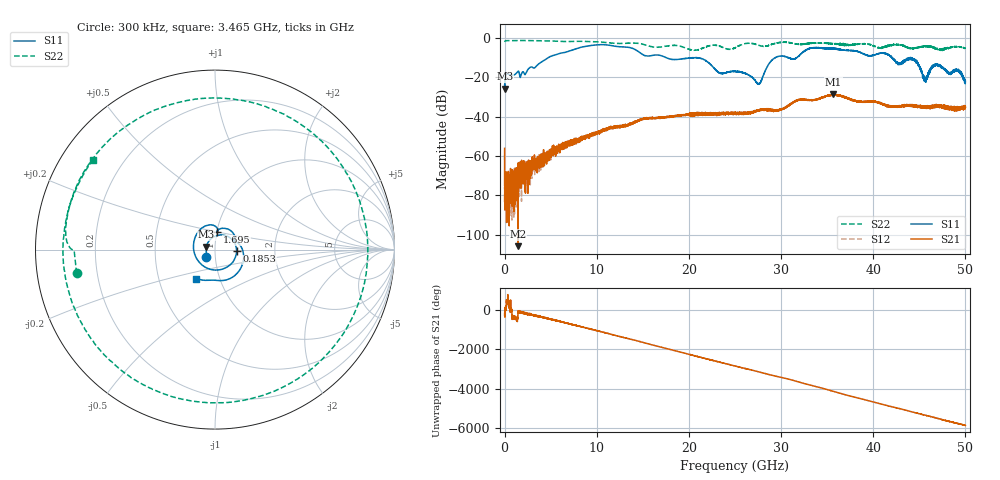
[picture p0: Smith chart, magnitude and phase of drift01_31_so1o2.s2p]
!Created with skrf (http://scikit-rf.org).
# Hz S RI R 50.0
!freq ReS11 ImS11 ReS21 ImS21 ReS12 ImS12 ReS22 ImS22
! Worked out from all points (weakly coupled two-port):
!   10001 points, 300 kHz to 50 GHz, reference 50 ohm
!   highest |S21| = -28.75 dB at 35.68 GHz (marker M1); lowest = -105.7 dB at 1.44 GHz (marker M2)
!   lowest |S11| = -25.8 dB at 5.3 MHz (marker M3), VSWR 1.11, Z = 45.3 + j1.42 ohm
!   |S11| at or under -10 dB: start of sweep to 4.766 GHz; 17.51 GHz to 29.4 GHz (11.89 GHz wide, 50.7 % of centre); 44.02 GHz to end of sweep (the widest 3 of 9)
!   |S22| runs from -6.5 to -1.4 dB; largest |S21 - S12| = 0.0041
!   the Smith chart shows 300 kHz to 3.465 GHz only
!   S11 on the Smith chart (normalised r, x): 300 kHz: 0.91, -0.07; 185.3 MHz: 1.27, -0.02; 1.695 GHz: 1.00, +0.20; 3.465 GHz: 0.77, -0.26
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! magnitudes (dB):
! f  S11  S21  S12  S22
! 300 kHz  -24.0  -56.1  -59.6  -2.1
! 5.3 MHz  -25.8  -76.0  -73.5  -2.1
! 185.3 MHz  -18.3  -74.7  -74.0  -1.4
! 405.3 MHz  -18.5  -87.2  -84.8  -1.4
! 1.44 GHz  -17.1  -105.7  -82.5  -1.4
! 1.695 GHz  -20.1  -63.0  -71.0  -1.4
! 3.465 GHz  -14.3  -62.8  -63.3  -1.5
! 8.335 GHz  -4.8  -51.1  -51.4  -1.8
! 16.67 GHz  -8.8  -40.6  -40.7  -4.8
! 21.16 GHz  -10.2  -38.6  -38.4  -5.8
! 25 GHz  -17.1  -38.3  -38.6  -5.1
! 27.59 GHz  -23.5  -36.6  -36.7  -3.8
! 29.27 GHz  -10.4  -36.9  -36.9  -2.9
! 31.45 GHz  -10.7  -32.5  -32.4  -3.0
! 33.34 GHz  -5.2  -31.8  -31.7  -2.7
! 35.68 GHz  -5.2  -28.8  -29.0  -3.2
! 41.67 GHz  -8.8  -34.4  -34.8  -4.2
! 42.76 GHz  -13.3  -34.9  -34.8  -3.4
! 44.4 GHz  -11.2  -34.4  -34.6  -5.4
! 45.61 GHz  -21.2  -34.9  -35.4  -4.3
! 46.96 GHz  -13.5  -34.4  -34.4  -5.7
! 50 GHz  -22.1  -35.4  -35.1  -5.4
